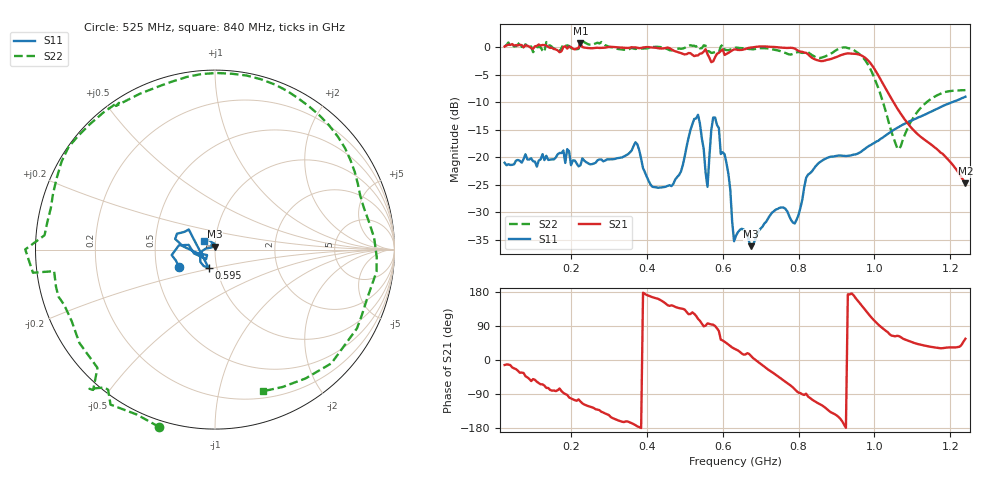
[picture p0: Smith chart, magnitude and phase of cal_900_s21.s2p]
!Created with skrf (http://scikit-rf.org).
# Hz S RI R 50.0
!freq ReS11 ImS11 ReS21 ImS21 ReS12 ImS12 ReS22 ImS22
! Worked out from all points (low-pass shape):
!   244 points, 25 MHz to 1.24 GHz, reference 50 ohm
!   highest |S21| = 0.80 dB at 225 MHz (marker M1); lowest = -24.8 dB at 1.24 GHz (marker M2)
!   |S21| within 3 dB of the highest: start of sweep to 566.9 MHz; 577.2 MHz to 844.3 MHz (267.1 MHz wide, 37.6 % of centre) (the widest 2 of 3)
!   lowest |S11| = -36.2 dB at 675 MHz (marker M3), VSWR 1.03, Z = 49.9 + j1.55 ohm
!   |S11| at or under -10 dB: start of sweep to 1.204 GHz
!   |S22| runs from -18.5 to 1.3 dB; largest |S21 - S12| = 1.1
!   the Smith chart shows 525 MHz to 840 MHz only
!   S11 on the Smith chart (normalised r, x): 525 MHz: 0.66, -0.14; 595 MHz: 0.91, -0.19; 840 MHz: 0.88, +0.09
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2.5e7  -0.0841 -0.0291  0.9923 -0.2325  0 0  0.9041 -0.4706
1.1e8  -0.0791 0.0218  0.5563 -0.87  0 0  -0.1973 -0.9913
2.25e8  -0.078 -0.0327  -0.3667 -1.033  0 0  -1.088 0.1945
2.3e8  -0.0903 -0.0372  -0.4151 -0.9168  0 0  -1.114 0.3111
3.15e8  -0.0897 -0.0349  -0.9168 -0.4169  0 0  0.0441 0.987
3.85e8  -0.0604 -0.0757  -0.9882 -0.00887  0 0  0.9136 0.3528
4.3e8  -0.0216 -0.0481  -0.9307 0.3155  0 0  0.9486 -0.351
5.25e8  -0.1998 -0.0994  -0.4402 0.7081  0 0  -0.3113 -0.9881
5.6e8  -0.0442 -0.0305  -0.1004 0.8622  0 0  -0.6546 -0.6588
5.75e8  -0.222 0.0593  -0.0403 0.7466  0 0  -0.8404 -0.3077
5.95e8  -0.0359 -0.1008  0.5488 0.7461  0 0  -1.014 -0.1289
6.35e8  0.00308 0.019  0.8467 0.4482  0 0  -0.8157 0.5716
6.75e8  -0.000663 0.0155  0.9814 0.1842  0 0  -0.4168 0.869
7.6e8  -0.0197 0.0287  0.5852 -0.8014  0 0  0.7547 0.4985
8.05e8  -0.00417 0.0343  0.0439 -0.9155  0 0  0.8824 -0.1728
8.35e8  -0.0558 0.0487  -0.1917 -0.7825  0 0  0.3763 -0.7655
8.4e8  -0.0598 0.0504  -0.2342 -0.7526  0 0  0.2687 -0.789
8.8e8  -0.0829 0.0558  -0.5386 -0.5581  0 0  -0.4886 -0.7055
9.2e8  -0.0985 0.03  -0.856 -0.1476  0 0  -1 -0.0544
9.75e8  -0.119 -0.013  -0.5471 0.5948  0 0  -0.3552 0.6837
1.04e9  -0.1561 -0.0601  0.1352 0.3394  0 0  0.1776 0.0815
1.24e9  0.00855 -0.3554  0.0324 0.0479  0 0  0.0351 -0.4071
